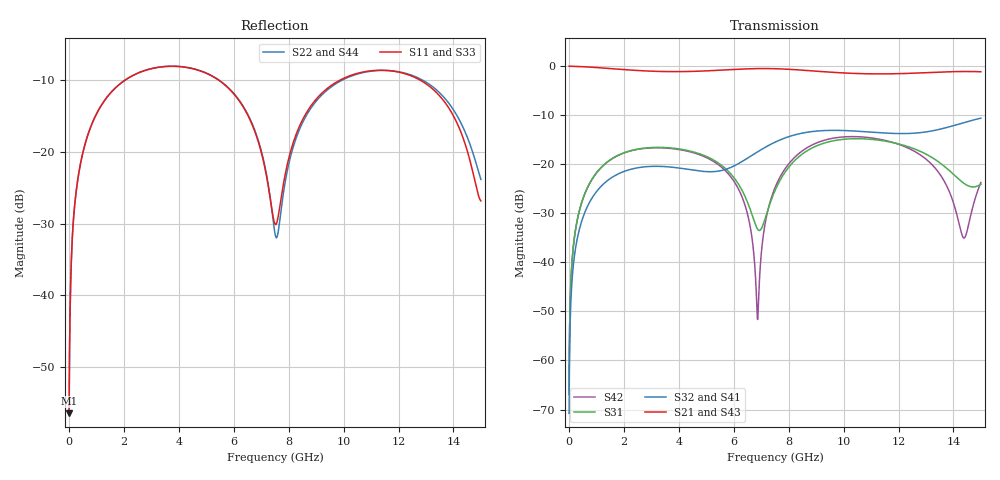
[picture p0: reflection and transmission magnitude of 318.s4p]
! Created with skrf 1.8.0 (http://scikit-rf.org).
# GHz S RI R 50.0
!freq ReS11 ImS11 ReS12 ImS12 ReS13 ImS13
! ReS14 ImS14
! ReS21 ImS21 ReS22 ImS22 ReS23 ImS23
! ReS24 ImS24
! ReS31 ImS31 ReS32 ImS32 ReS33 ImS33
! ReS34 ImS34
! ReS41 ImS41 ReS42 ImS42 ReS43 ImS43
! ReS44 ImS44
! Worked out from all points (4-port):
!   2499 points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, 5 MHz to 15 GHz, reference 50 ohm
!   strongest paths, dB at 5 MHz, 3.476 GHz, 7.19 GHz, 11.1 GHz, 15 GHz:
!     S21: 0.0, -1.1, -0.5, -1.6, -1.1
!     S43: 0.0, -1.1, -0.5, -1.6, -1.2
!     S32: -70.8, -20.5, -16.4, -13.5, -10.6
!     S41: -70.8, -20.5, -16.4, -13.5, -10.6
!     S31: -66.9, -16.6, -30.2, -15.0, -24.1
!     S42: -66.9, -16.7, -30.7, -14.7, -23.7
!   lowest |S11| = -56.5 dB at 5 MHz (marker M1), VSWR 1.00, Z = 50.1 + j0.0914 ohm
!   |S11| at or under -10 dB: start of sweep to 2.026 GHz; 5.466 GHz to 9.847 GHz (4.382 GHz wide, 57.2 % of centre); 12.81 GHz to end of sweep
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0.005  0.00119 0.000912  0.9988 -0.00233  5.79e-05 0.000448  -5.64e-05 -0.000284
       0.9988 -0.00233  0.00119 0.000912  -5.64e-05 -0.000284  5.79e-05 0.000448
       5.79e-05 0.000448  -5.64e-05 -0.000284  0.00119 0.000912  0.9988 -0.00233
       -5.64e-05 -0.000284  5.79e-05 0.000448  0.9988 -0.00233  0.00119 0.000912
0.5127136  0.0301 0.0957  0.9579 -0.2341  0.0142 0.0425  -0.0118 -0.0264
           0.9579 -0.2341  0.0301 0.0958  -0.0118 -0.0264  0.014 0.0426
           0.0142 0.0425  -0.0118 -0.0264  0.0301 0.0957  0.9579 -0.2341
           -0.0118 -0.0264  0.014 0.0426  0.9579 -0.2341  0.0301 0.0957
2.532305  0.3228 0.153  0.424 -0.795  0.1383 0.0372  -0.0913 0.0139
          0.424 -0.795  0.3235 0.1525  -0.0913 0.0138  0.1362 0.0413
          0.1383 0.0372  -0.0913 0.0138  0.323 0.1529  0.4239 -0.795
          -0.0913 0.0139  0.1362 0.0413  0.4239 -0.795  0.3236 0.1526
5.871196  0.197 -0.1868  -0.6482 -0.6535  0.0319 -0.0744  -0.0457 0.0803
          -0.6482 -0.6535  0.1956 -0.1909  -0.046 0.0799  0.0459 -0.0602
          0.0319 -0.0744  -0.046 0.0799  0.1976 -0.1881  -0.6478 -0.6534
          -0.0457 0.0803  0.0459 -0.0602  -0.6478 -0.6534  0.1969 -0.1914
6.865361  0.0604 -0.1071  -0.8831 -0.3316  -0.02 -0.00891  -0.0424 0.1267
          -0.8831 -0.3316  0.0567 -0.1121  -0.0432 0.1265  0.00261 0.000107
          -0.02 -0.00891  -0.0432 0.1265  0.0604 -0.1091  -0.8827 -0.3318
          -0.0424 0.1267  0.00261 0.000107  -0.8827 -0.3318  0.058 -0.1136
7.72822  0.036 0.032  -0.936 0.0258  0.00252 0.0719  0.0126 0.1784
         -0.936 0.0258  0.029 0.0274  0.0116 0.1785  0.0285 0.0724
         0.00252 0.0719  0.0116 0.1785  0.0351 0.0299  -0.9361 0.0254
         0.0126 0.1784  0.0285 0.0724  -0.9361 0.0254  0.0298 0.0251
15  0.0454 -0.00478  0.8605 0.1642  -0.0522 0.0344  0.046 -0.2914
    0.8605 0.1642  0.0537 -0.0356  0.0483 -0.2909  0.0451 0.0469
    -0.0522 0.0344  0.0483 -0.2909  0.0488 -0.00469  0.8609 0.1614
    0.046 -0.2914  0.0451 0.0469  0.8609 0.1614  0.05 -0.0371
